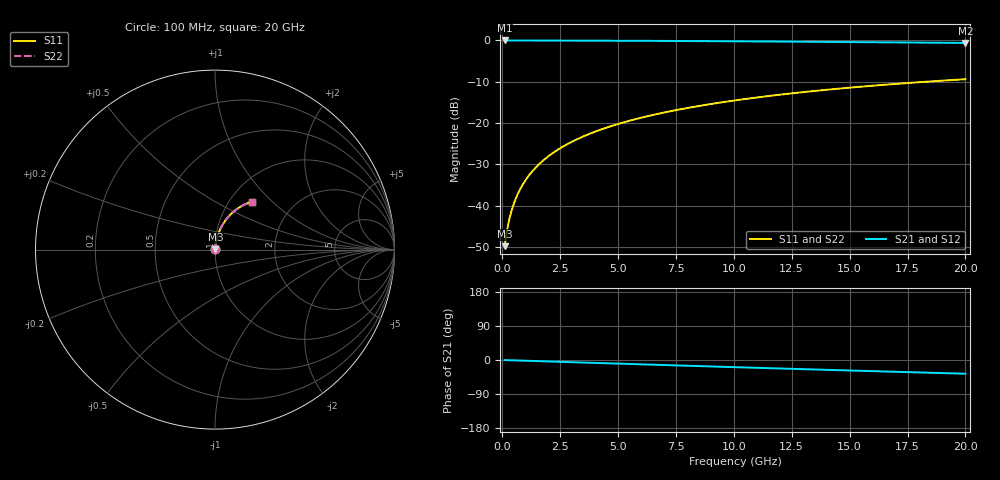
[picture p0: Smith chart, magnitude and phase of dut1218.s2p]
! Touchstone file exported from HFSS 2026.1.0
!  File:  C:/ffzhzh/LocalFiles/Ansys_Project_Files/temp_train_BSMRDL_1218_1783176743_22436.aedt
!  Generated:  10:53:34 PM Jul  4, 2026
!  Design:  BSMRDL
!  Project:  temp_train_BSMRDL_1218_1783176743_22436
! Variables:
!  h_bsmrdl = 4.02um
!  h_ox = 20um
!  h_rdl = 5um
!  h_sub = 80um
!  h_tmrdl = 5um
!  h_tsv = 80um
!  h_via = 3um
!  l_bsmrdl = 517.43um
!  l_sub = 917.43um
!  l_tmrdl = 200um
!  m_sub = 200um
!  pitch = 46.34um
!  r_tsv = 6um
!  s_tmrdl = 10um
!  w_bsmrdl = 20.35um
!  w_sub = 500um
!  w_tmrdl = 12um
!  x_tsv_center1 = 206um
!  x_tsv_center2 = 743.78um
!  x_tsv_center3 = 955.78um
!  x_tsv_center4 = 1493.56um
!  x_tsv_center5 = 1705.56um
!  x_tsv_center6 = 2243.34um
# GHz S MA R 50.000000
! Terminal data exported
! Port[1] = BSM_RDL1_1_T1
! Port[2] = BSM_RDL1_1_T2
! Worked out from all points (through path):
!   200 points, 100 MHz to 20 GHz, reference 50 ohm
!   highest |S21| = -0.02 dB at 100 MHz (marker M1); lowest = -0.6 dB at 20 GHz (marker M2)
!   group delay of S21, straight-line fit = 5.03 ps
!   lowest |S11| = -49.8 dB at 100 MHz (marker M3), VSWR 1.01, Z = 50.2 + j0.217 ohm
!   |S11| at or under -10 dB: start of sweep to 18.32 GHz
!   |S22| runs from -49.8 to -9.4 dB; largest |S21 - S12| = 3.1e-15
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0.1  0.003241 41.7  0.9976 -0.2  0.9976 -0.2  0.003241 41.7
! Gamma 0 0 0 0
! Port Impedance 50 0 50 0
0.2  0.004957 58.9  0.9975 -0.4  0.9975 -0.4  0.004957 58.9
0.3  0.006832 66.6  0.9973 -0.6  0.9973 -0.6  0.006832 66.6
0.4  0.008732 70.8  0.9972 -0.8  0.9972 -0.8  0.008732 70.8
0.5  0.01064 73.5  0.9971 -1.0  0.9971 -1.0  0.01064 73.5
0.6  0.01256 75.5  0.997 -1.2  0.997 -1.2  0.01256 75.5
0.8  0.01641 77.9  0.9969 -1.6  0.9969 -1.6  0.01641 77.9
1.1  0.02224 79.8  0.9967 -2.1  0.9967 -2.1  0.02224 79.8
1.5  0.03006 80.9  0.9964 -2.9  0.9964 -2.9  0.03006 80.9
1.8  0.03592 81.2  0.9961 -3.5  0.9961 -3.5  0.03592 81.2
2.1  0.04179 81.2  0.9957 -4.1  0.9957 -4.1  0.04179 81.2
2.7  0.05347 80.8  0.9949 -5.2  0.9949 -5.2  0.05347 80.8
3.5  0.06893 79.8  0.9935 -6.8  0.9935 -6.8  0.06893 79.8
4.2  0.08231 78.8  0.9921 -8.1  0.9921 -8.1  0.08231 78.8
5  0.09741 77.5  0.9903 -9.6  0.9903 -9.6  0.09741 77.5
5.9  0.1142 76.0  0.988 -11.3  0.988 -11.3  0.1142 76.0
6.8  0.1306 74.4  0.9855 -13.0  0.9855 -13.0  0.1306 74.4
8.3  0.1575 71.8  0.9808 -15.7  0.9808 -15.7  0.1575 71.8
10.1  0.1888 68.7  0.9746 -19.0  0.9746 -19.0  0.1888 68.7
13.4  0.2431 63.1  0.9615 -24.9  0.9615 -24.9  0.2431 63.1
16.7  0.2933 57.5  0.9468 -30.7  0.9468 -30.7  0.2933 57.5
20  0.3389 52.2  0.931 -36.2  0.931 -36.2  0.3389 52.2
